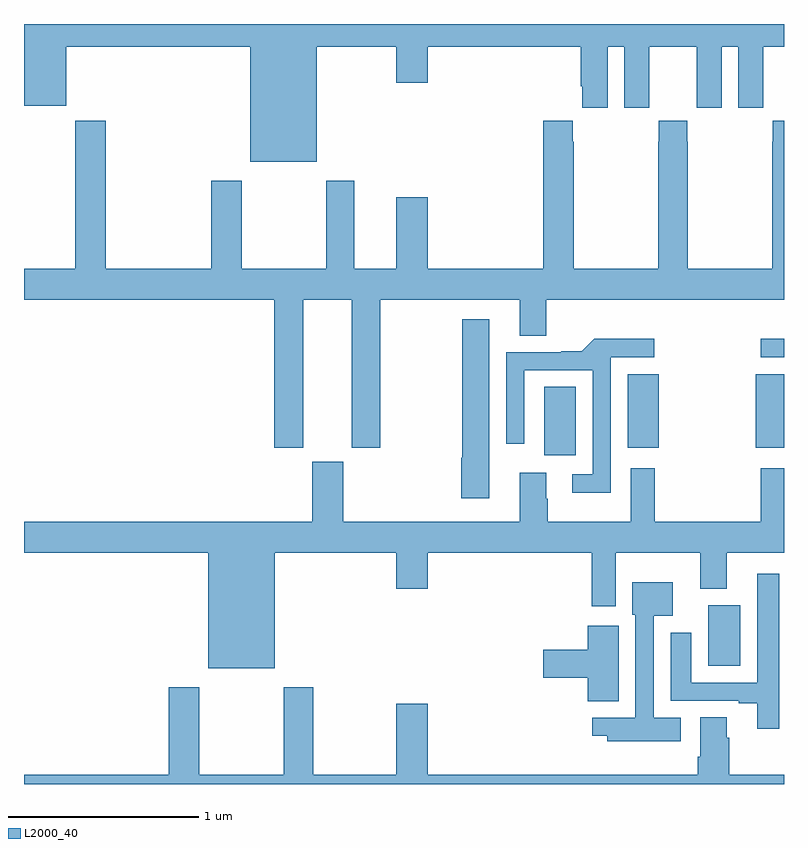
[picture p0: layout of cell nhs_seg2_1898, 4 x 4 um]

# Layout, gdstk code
import gdstk
lib = gdstk.Library(unit=1e-6, precision=1e-09)
def R(c, l, rs):  # rectangles x0, y0, x1, y1
    for r in rs: c.add(gdstk.rectangle(r[:2], r[2:], *l))
def P(c, l, *ps):  # polygons
    for p in ps: c.add(gdstk.Polygon(p, *l))
L2000_40 = (2000, 40)

nhs_seg2_1898 = lib.new_cell('nhs_seg2_1898')
R(nhs_seg2_1898, L2000_40, [(214.601,600.422,214.771,600.742), (213.737,601.53,213.904,601.892), (214.178,601.571,214.342,601.957), (214.85,601.571,215,601.957), (214.878,602.046,215,602.144)])
P(nhs_seg2_1898, L2000_40, [(212.542,603.68),(212.96,603.68),(212.96,603.492),(213.124,603.492),(213.124,603.68),(213.929,603.68),(213.929,603.472),(213.938,603.472),(213.938,603.36),(214.072,603.36),(214.072,603.68),(214.16,603.68),(214.16,603.36),(214.29,603.36),(214.29,603.472),(214.291,603.472),(214.291,603.68),(214.541,603.68),(214.541,603.472),(214.542,603.472),(214.542,603.36),(214.672,603.36),(214.672,603.68),(214.76,603.68),(214.76,603.36),(214.89,603.36),(214.89,603.472),(214.891,603.472),(214.891,603.68),(215,603.68),(215,603.8),(211,603.8),(211,603.371),(211.222,603.371),(211.222,603.68),(212.192,603.68),(212.192,603.074),(212.542,603.074)],
  [(212.47,602.348),(212.726,602.348),(212.726,601.569),(212.874,601.569),(212.874,602.348),(213.608,602.348),(213.608,602.158),(213.748,602.158),(213.748,602.348),(215,602.348),(215,603.292),(214.941,603.292),(214.941,603.179),(214.939,603.179),(214.939,602.512),(214.494,602.512),(214.494,603.179),(214.491,603.179),(214.491,603.292),(214.341,603.292),(214.341,603.179),(214.339,603.179),(214.339,602.512),(213.894,602.512),(213.894,603.179),(213.887,603.179),(213.887,603.292),(213.734,603.292),(213.734,602.512),(213.124,602.512),(213.124,602.887),(212.96,602.887),(212.96,602.512),(212.737,602.512),(212.737,602.974),(212.59,602.974),(212.59,602.512),(212.145,602.512),(212.145,602.974),(211.985,602.974),(211.985,602.512),(211.43,602.512),(211.43,603.292),(211.27,603.292),(211.27,602.512),(211,602.512),(211,602.348),(212.318,602.348),(212.318,601.569),(212.47,601.569)],
  [(213.448,602.245),(213.307,602.245),(213.307,601.517),(213.302,601.517),(213.302,601.305),(213.448,601.305)],
  [(214.089,602.046),(214.318,602.046),(214.318,602.144),(214.001,602.144),(213.935,602.078),(213.827,602.078),(213.827,602.073),(213.537,602.073),(213.537,601.59),(213.633,601.59),(213.633,601.977),(213.993,601.977),(213.993,601.431),(213.885,601.431),(213.885,601.334),(214.089,601.334)],
  [(212.32,601.016),(212.96,601.016),(212.96,600.828),(213.124,600.828),(213.124,601.016),(213.989,601.016),(213.989,600.735),(214.114,600.735),(214.114,601.016),(214.559,601.016),(214.559,600.827),(214.699,600.827),(214.699,601.016),(215,601.016),(215,601.462),(214.877,601.462),(214.877,601.18),(214.319,601.18),(214.319,601.462),(214.193,601.462),(214.193,601.18),(213.756,601.18),(213.756,601.301),(213.748,601.301),(213.748,601.438),(213.608,601.438),(213.608,601.18),(212.68,601.18),(212.68,601.497),(212.516,601.497),(212.516,601.18),(211,601.18),(211,601.016),(211.97,601.016),(211.97,600.41),(212.32,600.41)],
  [(214.976,600.907),(214.86,600.907),(214.86,600.333),(214.513,600.333),(214.513,600.595),(214.403,600.595),(214.403,600.237),(214.763,600.237),(214.763,600.225),(214.859,600.225),(214.859,600.09),(214.976,600.09)],
  [(214.456,600.148),(214.314,600.148),(214.314,600.686),(214.414,600.686),(214.414,600.862),(214.202,600.862),(214.202,600.69),(214.218,600.69),(214.218,600.15),(213.99,600.15),(213.99,600.053),(214.071,600.053),(214.071,600.026),(214.456,600.026)],
  [(214.129,600.634),(213.968,600.634),(213.968,600.506),(213.732,600.506),(213.732,600.359),(213.968,600.359),(213.968,600.235),(214.129,600.235)],
  [(215,599.848),(214.712,599.848),(214.712,600.044),(214.699,600.044),(214.699,600.152),(214.559,600.152),(214.559,599.944),(214.547,599.944),(214.547,599.848),(213.124,599.848),(213.124,600.223),(212.96,600.223),(212.96,599.848),(212.523,599.848),(212.523,600.31),(212.368,600.31),(212.368,599.848),(211.923,599.848),(211.923,600.31),(211.763,600.31),(211.763,599.848),(211,599.848),(211,599.8),(215,599.8)])

lib.write_gds('nhs_seg2_1898.gds')
